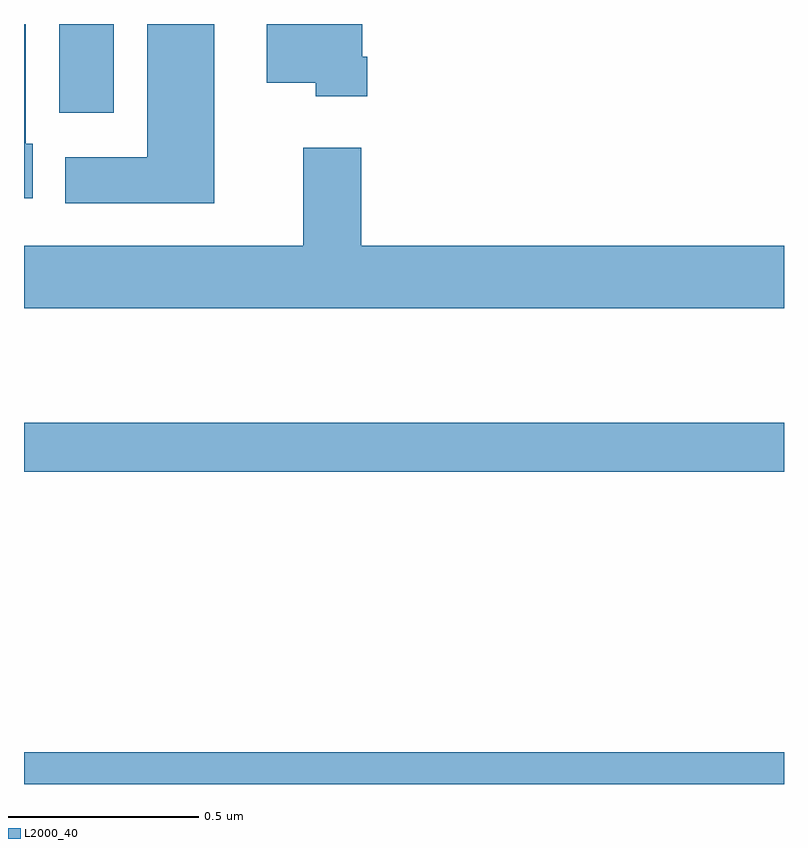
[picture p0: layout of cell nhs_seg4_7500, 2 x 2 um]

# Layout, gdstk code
import gdstk
lib = gdstk.Library(unit=1e-6, precision=1e-09)
def R(c, l, rs):  # rectangles x0, y0, x1, y1
    for r in rs: c.add(gdstk.rectangle(r[:2], r[2:], *l))
def P(c, l, *ps):  # polygons
    for p in ps: c.add(gdstk.Polygon(p, *l))
L2000_40 = (2000, 40)

nhs_seg4_7500 = lib.new_cell('nhs_seg4_7500')
R(nhs_seg4_7500, L2000_40, [(203,796.9,205,796.984), (203,797.722,205,797.851), (203.093,798.666,203.236,798.9)])
P(nhs_seg4_7500, L2000_40, [(203.5,798.9),(203.324,798.9),(203.324,798.55),(203.108,798.55),(203.108,798.428),(203.5,798.428)],
  [(203.903,798.814),(203.89,798.814),(203.89,798.9),(203.639,798.9),(203.639,798.746),(203.768,798.746),(203.768,798.71),(203.903,798.71)],
  [(203.023,798.585),(203.004,798.585),(203.004,798.9),(203,798.9),(203,798.441),(203.023,798.441)],
  [(205,798.316),(203.888,798.316),(203.888,798.574),(203.735,798.574),(203.735,798.316),(203,798.316),(203,798.152),(205,798.152)])

lib.write_gds('nhs_seg4_7500.gds')
